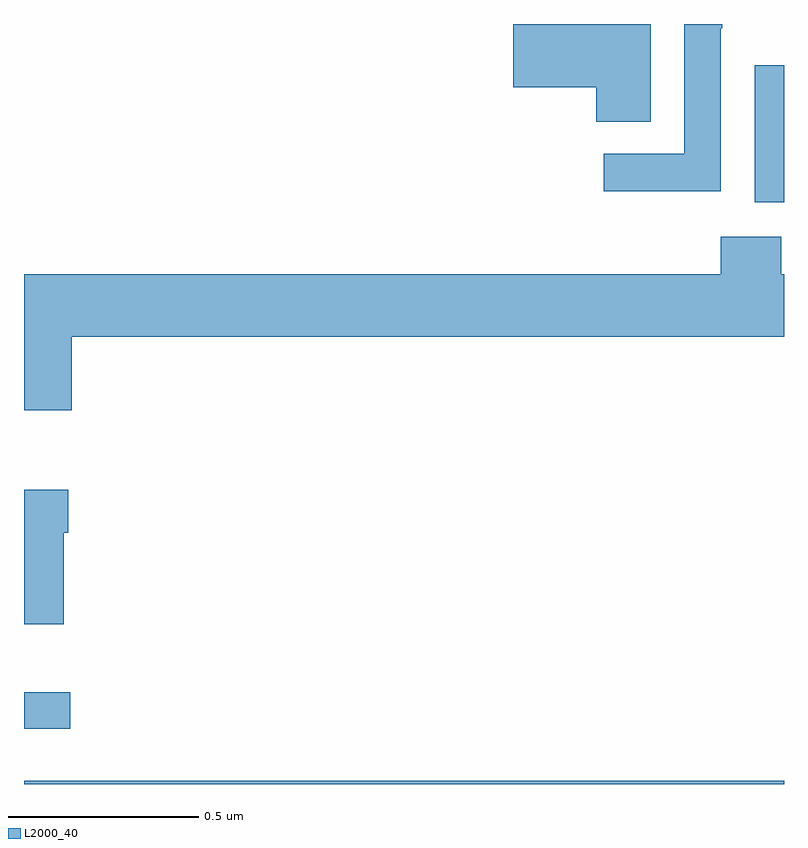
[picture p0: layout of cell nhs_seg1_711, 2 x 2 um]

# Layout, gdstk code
import gdstk
lib = gdstk.Library(unit=1e-6, precision=1e-09)
def R(c, l, rs):  # rectangles x0, y0, x1, y1
    for r in rs: c.add(gdstk.rectangle(r[:2], r[2:], *l))
def P(c, l, *ps):  # polygons
    for p in ps: c.add(gdstk.Polygon(p, *l))
L2000_40 = (2000, 40)

nhs_seg1_711 = lib.new_cell('nhs_seg1_711')
R(nhs_seg1_711, L2000_40, [(119,573.199,121,573.208), (119,573.344,119.122,573.441), (120.923,574.73,121,575.091)])
P(nhs_seg1_711, L2000_40, [(120.649,575.199),(120.288,575.199),(120.288,575.033),(120.506,575.033),(120.506,574.942),(120.649,574.942)],
  [(120.834,575.188),(120.837,575.188),(120.837,575.199),(120.738,575.199),(120.738,574.857),(120.525,574.857),(120.525,574.759),(120.834,574.759)],
  [(119.126,574.376),(121,574.376),(121,574.54),(120.993,574.54),(120.993,574.639),(120.833,574.639),(120.833,574.54),(119,574.54),(119,574.182),(119.126,574.182)],
  [(119.104,573.86),(119.117,573.86),(119.117,573.973),(119,573.973),(119,573.62),(119.104,573.62)])

lib.write_gds('nhs_seg1_711.gds')
